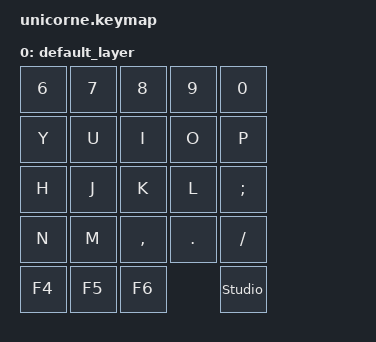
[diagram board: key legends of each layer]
#include <behaviors.dtsi>
#include <dt-bindings/zmk/keys.h>

/ {
    keymap {
        compatible = "zmk,keymap";
        label = "Default";
        physical-layout = <&physical_layout0>;

        default_layer { // Layer 0
            bindings = <
                &kp N6   &kp N7   &kp N8    &kp N9   &kp N0
                &kp Y    &kp U    &kp I     &kp O    &kp P
                &kp H    &kp J    &kp K     &kp L    &kp SEMI
                &kp N    &kp M    &kp COMMA &kp DOT  &kp SLASH
                &kp F4   &kp F5   &kp F6             &studio_unlock
            >;
        };
    };
 };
